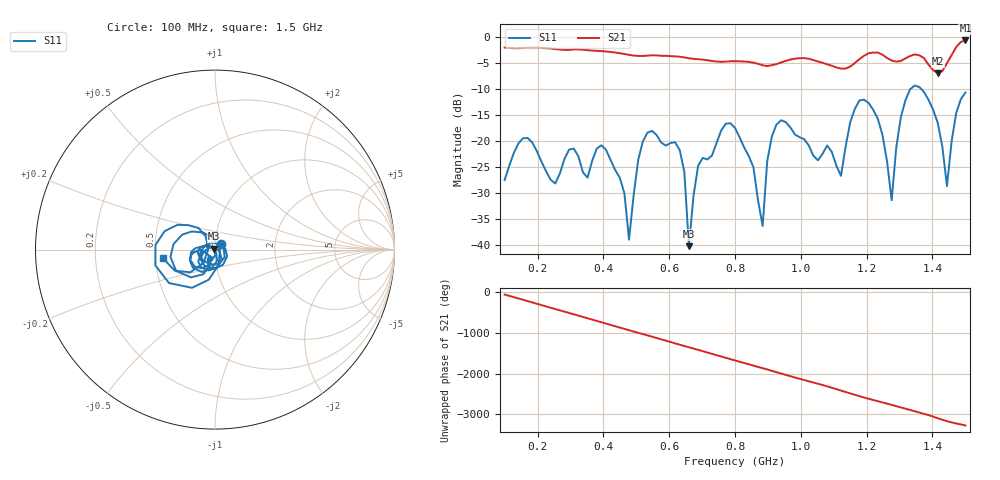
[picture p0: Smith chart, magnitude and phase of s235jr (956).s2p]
! NanoVNA-App
! Date: 2025-09-25 15:11:36
! Start: 100MHz Stop: 1,5GHz Points: 101
! S-Parameter data: F S11 S21 S12 S22
# Hz S RI R 50
!  Frequency  S11_Real  S11_Imag  S21_Real  S21_Imag  S12_Real  S12_Imag  S22_Real  S22_Imag
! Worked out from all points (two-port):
!   101 points, 100 MHz to 1.5 GHz, reference 50 ohm
!   highest |S21| = -0.60 dB at 1.5 GHz (marker M1); lowest = -6.9 dB at 1.416 GHz (marker M2)
!   |S21| within 3 dB of the highest: start of sweep to 599 MHz; 1.191 GHz to 1.254 GHz (63.02 MHz wide, 5.16 % of centre) (the widest 2 of 4)
!   lowest |S11| = -40.2 dB at 660 MHz (marker M3), VSWR 1.02, Z = 49.2 + j0.543 ohm
!   |S11| at or under -10 dB: start of sweep to 1.332 GHz; 1.367 GHz to end of sweep
!   S12 and S22 are empty: the file has one direction only
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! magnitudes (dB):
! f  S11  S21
! 100 MHz  -27.5  -2.0
! 156 MHz  -19.4  -2.0
! 338 MHz  -26.0  -2.4
! 408 MHz  -21.6  -2.7
! 478 MHz  -38.9  -3.4
! 520 MHz  -20.0  -3.6
! 576 MHz  -20.3  -3.5
! 632 MHz  -21.7  -3.7
! 660 MHz  -40.2  -4.0
! 688 MHz  -24.7  -4.2
! 800 MHz  -17.4  -4.6
! 884 MHz  -36.3  -5.4
! 926 MHz  -16.8  -5.2
! 1.038 GHz  -22.8  -4.4
! 1.122 GHz  -26.7  -6.0
! 1.192 GHz  -12.0  -3.5
! 1.248 GHz  -18.8  -3.3
! 1.276 GHz  -31.3  -4.5
! 1.332 GHz  -10.0  -3.6
! 1.416 GHz  -16.5  -6.9
! 1.444 GHz  -28.6  -5.0
! 1.5 GHz  -10.6  -0.6
